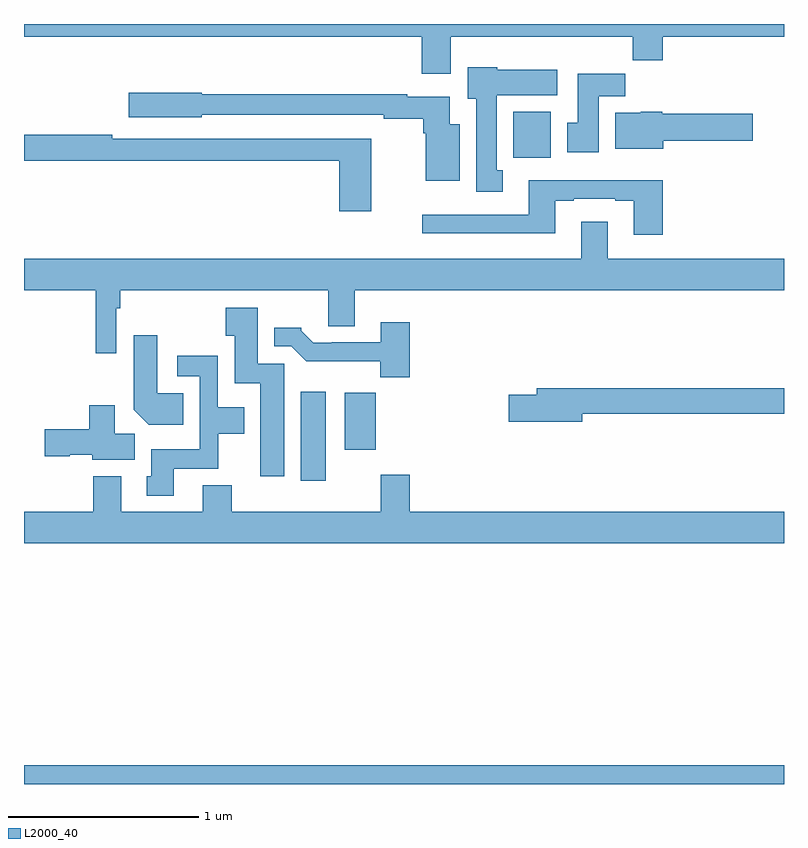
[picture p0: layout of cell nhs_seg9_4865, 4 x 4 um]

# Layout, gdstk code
import gdstk
lib = gdstk.Library(unit=1e-6, precision=1e-09)
def R(c, l, rs):  # rectangles x0, y0, x1, y1
    for r in rs: c.add(gdstk.rectangle(r[:2], r[2:], *l))
def P(c, l, *ps):  # polygons
    for p in ps: c.add(gdstk.Polygon(p, *l))
L2000_40 = (2000, 40)

nhs_seg9_4865 = lib.new_cell('nhs_seg9_4865')
R(nhs_seg9_4865, L2000_40, [(393,1180.5,397,1180.6), (394.457,1182.096,394.588,1182.565), (395.576,1183.796,395.773,1184.038)])
P(nhs_seg9_4865, L2000_40, [(395.245,1184.432),(396.205,1184.432),(396.205,1184.308),(396.362,1184.308),(396.362,1184.432),(397,1184.432),(397,1184.5),(393,1184.5),(393,1184.432),(395.093,1184.432),(395.093,1184.238),(395.245,1184.238)],
  [(395.521,1183.73),(395.488,1183.73),(395.488,1184.126),(395.806,1184.126),(395.806,1184.26),(395.49,1184.26),(395.49,1184.272),(395.336,1184.272),(395.336,1184.106),(395.381,1184.106),(395.381,1183.617),(395.521,1183.617)],
  [(396.025,1184.12),(396.164,1184.12),(396.164,1184.239),(395.915,1184.239),(395.915,1183.98),(395.858,1183.98),(395.858,1183.824),(396.025,1183.824)],
  [(395.293,1183.972),(395.242,1183.972),(395.242,1184.118),(395.018,1184.118),(395.018,1184.131),(393.936,1184.131),(393.936,1184.139),(393.552,1184.139),(393.552,1184.009),(393.936,1184.009),(393.936,1184.022),(394.894,1184.022),(394.894,1184.002),(395.102,1184.002),(395.102,1183.925),(395.114,1183.925),(395.114,1183.676),(395.293,1183.676)],
  [(396.364,1183.886),(396.835,1183.886),(396.835,1184.028),(396.36,1184.028),(396.36,1184.038),(396.246,1184.038),(396.246,1184.032),(396.113,1184.032),(396.113,1183.844),(396.364,1183.844)],
  [(394.828,1183.896),(393.464,1183.896),(393.464,1183.916),(393,1183.916),(393,1183.78),(394.658,1183.78),(394.658,1183.515),(394.828,1183.515)],
  [(396.362,1183.678),(395.657,1183.678),(395.657,1183.497),(395.097,1183.497),(395.097,1183.4),(395.797,1183.4),(395.797,1183.569),(395.893,1183.569),(395.893,1183.581),(396.113,1183.581),(396.113,1183.569),(396.209,1183.569),(396.209,1183.392),(396.362,1183.392)],
  [(393,1183.1),(393.378,1183.1),(393.378,1182.768),(393.486,1182.768),(393.486,1183.004),(393.506,1183.004),(393.506,1183.1),(394.601,1183.1),(394.601,1182.91),(394.741,1182.91),(394.741,1183.1),(397,1183.1),(397,1183.264),(396.073,1183.264),(396.073,1183.459),(395.933,1183.459),(395.933,1183.264),(393,1183.264)],
  [(394.369,1182.711),(394.231,1182.711),(394.231,1183.006),(394.063,1183.006),(394.063,1182.859),(394.109,1182.859),(394.109,1182.608),(394.244,1182.608),(394.244,1182.12),(394.369,1182.12)],
  [(395.03,1182.931),(394.877,1182.931),(394.877,1182.825),(394.621,1182.825),(394.621,1182.822),(394.522,1182.822),(394.458,1182.886),(394.458,1182.901),(394.316,1182.901),(394.316,1182.804),(394.407,1182.804),(394.486,1182.726),(394.875,1182.726),(394.875,1182.641),(395.03,1182.641)],
  [(393.839,1182.556),(393.7,1182.556),(393.7,1182.862),(393.578,1182.862),(393.578,1182.47),(393.656,1182.392),(393.839,1182.392)],
  [(393.787,1182.158),(394.023,1182.158),(394.023,1182.344),(394.159,1182.344),(394.159,1182.484),(394.02,1182.484),(394.02,1182.754),(393.807,1182.754),(393.807,1182.645),(393.924,1182.645),(393.924,1182.262),(393.671,1182.262),(393.671,1182.12),(393.647,1182.12),(393.647,1182.018),(393.787,1182.018)],
  [(395.938,1182.448),(397,1182.448),(397,1182.584),(395.699,1182.584),(395.699,1182.548),(395.55,1182.548),(395.55,1182.406),(395.938,1182.406)],
  [(394.852,1182.411),(394.85,1182.411),(394.85,1182.559),(394.688,1182.559),(394.688,1182.258),(394.852,1182.258)],
  [(393.583,1182.344),(393.478,1182.344),(393.478,1182.493),(393.344,1182.493),(393.344,1182.368),(393.108,1182.368),(393.108,1182.226),(393.24,1182.226),(393.24,1182.233),(393.36,1182.233),(393.36,1182.206),(393.583,1182.206)],
  [(397,1181.932),(395.03,1181.932),(395.03,1182.127),(394.877,1182.127),(394.877,1181.932),(394.094,1181.932),(394.094,1182.073),(393.941,1182.073),(393.941,1181.932),(393.511,1181.932),(393.511,1182.121),(393.364,1182.121),(393.364,1181.932),(393,1181.932),(393,1181.768),(397,1181.768)])

lib.write_gds('nhs_seg9_4865.gds')
